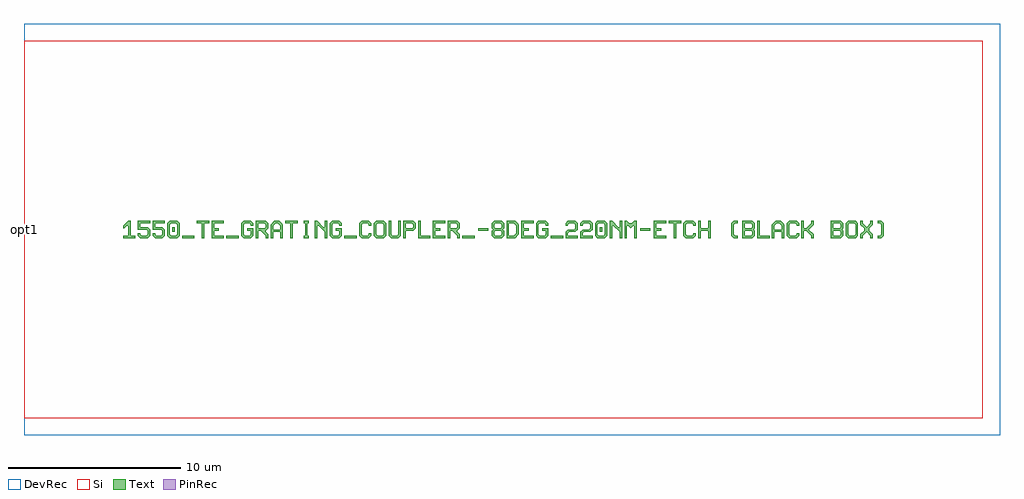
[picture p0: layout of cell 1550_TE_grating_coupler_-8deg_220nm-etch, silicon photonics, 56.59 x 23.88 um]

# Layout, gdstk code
import gdstk
lib = gdstk.Library(unit=1e-6, precision=1e-09)
def R(c, l, rs):  # rectangles x0, y0, x1, y1
    for r in rs: c.add(gdstk.rectangle(r[:2], r[2:], *l))
def A(c, l, x, y, w, h, nx, ny, dx, dy):  # array of equal rectangles
    R(c, l, [(x+i*dx, y+j*dy, x+i*dx+w, y+j*dy+h) for i in range(nx) for j in range(ny)])
def P(c, l, *ps):  # polygons
    for p in ps: c.add(gdstk.Polygon(p, *l))
Si = (1, 0)
PinRec = (1, 10)
Text = (10, 0)
DevRec = (68, 0)

text = lib.new_cell('TEXT')
A(text, Text, 5.985, 0, 0.713, 0.143, 3, 1, 6.84, 0)
R(text, Text, [(3.42,0,4.133,0.143), (24.795,0,25.508,0.143), (2.85,0.356,2.993,0.641), (27.645,0.356,27.788,0.641), (20.591,0.428,21.161,0.57), (29.996,0.428,30.566,0.57)])
P(text, Text, [(0,0),(0,0.143),(0.285,0.143),(0.285,0.713),(0.214,0.713),(0.071,0.57),(0,0.57),(0,0.713),(0.285,0.998),(0.428,0.998),(0.428,0.143),(0.713,0.143),(0.713,0)],
  [(0.998,0),(0.855,0.143),(0.855,0.285),(0.998,0.285),(0.998,0.214),(1.069,0.143),(1.354,0.143),(1.425,0.214),(1.425,0.428),(1.354,0.499),(0.855,0.499),(0.855,0.998),(1.568,0.998),(1.568,0.855),(0.998,0.855),(0.998,0.641),(1.425,0.641),(1.568,0.499),(1.568,0.143),(1.425,0)],
  [(1.853,0),(1.71,0.143),(1.71,0.285),(1.853,0.285),(1.853,0.214),(1.924,0.143),(2.209,0.143),(2.28,0.214),(2.28,0.428),(2.209,0.499),(1.71,0.499),(1.71,0.998),(2.423,0.998),(2.423,0.855),(1.853,0.855),(1.853,0.641),(2.28,0.641),(2.423,0.499),(2.423,0.143),(2.28,0)],
  [(2.708,0),(2.565,0.143),(2.565,0.855),(2.708,0.998),(3.135,0.998),(3.278,0.855),(2.779,0.855),(2.708,0.784),(2.708,0.214),(2.779,0.143),(3.064,0.143),(3.135,0.214),(3.135,0.784),(3.064,0.855),(3.278,0.855),(3.278,0.143),(3.135,0)],
  [(4.56,0),(4.56,0.855),(4.275,0.855),(4.275,0.998),(4.988,0.998),(4.988,0.855),(4.703,0.855),(4.703,0)],
  [(5.13,0),(5.13,0.998),(5.843,0.998),(5.843,0.855),(5.273,0.855),(5.273,0.57),(5.558,0.57),(5.558,0.428),(5.273,0.428),(5.273,0.143),(5.843,0.143),(5.843,0)],
  [(6.983,0),(6.84,0.143),(6.84,0.855),(6.983,0.998),(7.41,0.998),(7.553,0.855),(7.553,0.713),(7.41,0.713),(7.41,0.784),(7.339,0.855),(7.054,0.855),(6.983,0.784),(6.983,0.214),(7.054,0.143),(7.339,0.143),(7.41,0.214),(7.41,0.428),(7.196,0.428),(7.196,0.57),(7.553,0.57),(7.553,0.143),(7.41,0)],
  [(7.695,0),(7.695,0.998),(8.265,0.998),(8.408,0.855),(7.838,0.855),(7.838,0.57),(8.194,0.57),(8.265,0.641),(8.265,0.784),(8.194,0.855),(8.408,0.855),(8.408,0.57),(8.265,0.428),(8.265,0.356),(8.408,0.214),(8.408,0),(8.265,0),(8.265,0.143),(7.98,0.428),(7.838,0.428),(7.838,0)],
  [(8.55,0),(8.55,0.784),(8.764,0.998),(9.049,0.998),(9.191,0.855),(8.835,0.855),(8.693,0.713),(8.693,0.499),(9.12,0.499),(9.12,0.713),(8.978,0.855),(9.191,0.855),(9.263,0.784),(9.263,0),(9.12,0),(9.12,0.356),(8.693,0.356),(8.693,0)],
  [(9.69,0),(9.69,0.855),(9.405,0.855),(9.405,0.998),(10.118,0.998),(10.118,0.855),(9.833,0.855),(9.833,0)],
  [(10.474,0),(10.474,0.143),(10.545,0.143),(10.545,0.855),(10.474,0.855),(10.474,0.998),(10.759,0.998),(10.759,0.855),(10.688,0.855),(10.688,0.143),(10.759,0.143),(10.759,0)],
  [(11.115,0),(11.115,0.998),(11.258,0.998),(11.614,0.641),(11.685,0.641),(11.685,0.998),(11.828,0.998),(11.828,0),(11.685,0),(11.685,0.356),(11.329,0.713),(11.258,0.713),(11.258,0)],
  [(12.113,0),(11.97,0.143),(11.97,0.855),(12.113,0.998),(12.54,0.998),(12.683,0.855),(12.683,0.713),(12.54,0.713),(12.54,0.784),(12.469,0.855),(12.184,0.855),(12.113,0.784),(12.113,0.214),(12.184,0.143),(12.469,0.143),(12.54,0.214),(12.54,0.428),(12.326,0.428),(12.326,0.57),(12.683,0.57),(12.683,0.143),(12.54,0)],
  [(13.823,0),(13.68,0.143),(13.68,0.855),(13.823,0.998),(14.25,0.998),(14.393,0.855),(14.393,0.713),(14.25,0.713),(14.25,0.784),(14.179,0.855),(13.894,0.855),(13.823,0.784),(13.823,0.214),(13.894,0.143),(14.179,0.143),(14.25,0.214),(14.25,0.285),(14.393,0.285),(14.393,0.143),(14.25,0)],
  [(14.678,0),(14.535,0.143),(14.535,0.855),(14.678,0.998),(15.105,0.998),(15.248,0.855),(15.248,0.499),(15.105,0.499),(15.105,0.784),(15.034,0.855),(14.749,0.855),(14.678,0.784),(14.678,0.214),(14.749,0.143),(15.034,0.143),(15.105,0.214),(15.105,0.499),(15.248,0.499),(15.248,0.143),(15.105,0)],
  [(15.533,0),(15.39,0.143),(15.39,0.998),(15.533,0.998),(15.533,0.214),(15.604,0.143),(15.889,0.143),(15.96,0.214),(15.96,0.998),(16.103,0.998),(16.103,0.143),(15.96,0)],
  [(16.245,0),(16.245,0.998),(16.815,0.998),(16.958,0.855),(16.958,0.57),(16.815,0.428),(16.388,0.428),(16.388,0.57),(16.744,0.57),(16.815,0.641),(16.815,0.784),(16.744,0.855),(16.388,0.855),(16.388,0)],
  [(17.1,0),(17.1,0.998),(17.243,0.998),(17.243,0.143),(17.813,0.143),(17.813,0)],
  [(17.955,0),(17.955,0.998),(18.668,0.998),(18.668,0.855),(18.098,0.855),(18.098,0.57),(18.383,0.57),(18.383,0.428),(18.098,0.428),(18.098,0.143),(18.668,0.143),(18.668,0)],
  [(18.81,0),(18.81,0.998),(19.38,0.998),(19.523,0.855),(18.953,0.855),(18.953,0.57),(19.309,0.57),(19.38,0.641),(19.38,0.784),(19.309,0.855),(19.523,0.855),(19.523,0.57),(19.38,0.428),(19.38,0.356),(19.523,0.214),(19.523,0),(19.38,0),(19.38,0.143),(19.095,0.428),(18.953,0.428),(18.953,0)],
  [(21.518,0),(21.375,0.143),(21.375,0.428),(21.446,0.499),(21.375,0.57),(21.375,0.855),(21.518,0.998),(21.945,0.998),(22.088,0.855),(21.589,0.855),(21.518,0.784),(21.518,0.641),(21.589,0.57),(21.874,0.57),(21.945,0.641),(21.945,0.784),(21.874,0.855),(22.088,0.855),(22.088,0.57),(22.016,0.499),(22.088,0.428),(21.589,0.428),(21.518,0.356),(21.518,0.214),(21.589,0.143),(21.874,0.143),(21.945,0.214),(21.945,0.356),(21.874,0.428),(22.088,0.428),(22.088,0.143),(21.945,0)],
  [(22.23,0),(22.23,0.998),(22.729,0.998),(22.871,0.855),(22.373,0.855),(22.373,0.143),(22.658,0.143),(22.8,0.285),(22.8,0.713),(22.658,0.855),(22.871,0.855),(22.943,0.784),(22.943,0.214),(22.729,0)],
  [(23.085,0),(23.085,0.998),(23.798,0.998),(23.798,0.855),(23.228,0.855),(23.228,0.57),(23.513,0.57),(23.513,0.428),(23.228,0.428),(23.228,0.143),(23.798,0.143),(23.798,0)],
  [(24.083,0),(23.94,0.143),(23.94,0.855),(24.083,0.998),(24.51,0.998),(24.653,0.855),(24.653,0.713),(24.51,0.713),(24.51,0.784),(24.439,0.855),(24.154,0.855),(24.083,0.784),(24.083,0.214),(24.154,0.143),(24.439,0.143),(24.51,0.214),(24.51,0.428),(24.296,0.428),(24.296,0.57),(24.653,0.57),(24.653,0.143),(24.51,0)],
  [(25.65,0),(25.65,0.356),(25.793,0.499),(26.149,0.499),(26.22,0.57),(26.22,0.784),(26.149,0.855),(25.864,0.855),(25.793,0.784),(25.793,0.713),(25.65,0.713),(25.65,0.855),(25.793,0.998),(26.22,0.998),(26.363,0.855),(26.363,0.499),(26.22,0.356),(25.864,0.356),(25.793,0.285),(25.793,0.143),(26.363,0.143),(26.363,0)],
  [(26.505,0),(26.505,0.356),(26.648,0.499),(27.004,0.499),(27.075,0.57),(27.075,0.784),(27.004,0.855),(26.719,0.855),(26.648,0.784),(26.648,0.713),(26.505,0.713),(26.505,0.855),(26.648,0.998),(27.075,0.998),(27.218,0.855),(27.218,0.499),(27.075,0.356),(26.719,0.356),(26.648,0.285),(26.648,0.143),(27.218,0.143),(27.218,0)],
  [(27.503,0),(27.36,0.143),(27.36,0.855),(27.503,0.998),(27.93,0.998),(28.073,0.855),(27.574,0.855),(27.503,0.784),(27.503,0.214),(27.574,0.143),(27.859,0.143),(27.93,0.214),(27.93,0.784),(27.859,0.855),(28.073,0.855),(28.073,0.143),(27.93,0)],
  [(28.215,0),(28.215,0.998),(28.358,0.998),(28.714,0.641),(28.785,0.641),(28.785,0.998),(28.928,0.998),(28.928,0),(28.785,0),(28.785,0.356),(28.429,0.713),(28.358,0.713),(28.358,0)],
  [(29.07,0),(29.07,0.998),(29.213,0.998),(29.355,0.855),(29.498,0.855),(29.64,0.998),(29.783,0.998),(29.783,0),(29.64,0),(29.64,0.713),(29.569,0.713),(29.426,0.57),(29.284,0.713),(29.213,0.713),(29.213,0)],
  [(30.78,0),(30.78,0.998),(31.493,0.998),(31.493,0.855),(30.923,0.855),(30.923,0.57),(31.208,0.57),(31.208,0.428),(30.923,0.428),(30.923,0.143),(31.493,0.143),(31.493,0)],
  [(31.92,0),(31.92,0.855),(31.635,0.855),(31.635,0.998),(32.348,0.998),(32.348,0.855),(32.063,0.855),(32.063,0)],
  [(32.633,0),(32.49,0.143),(32.49,0.855),(32.633,0.998),(33.06,0.998),(33.203,0.855),(33.203,0.713),(33.06,0.713),(33.06,0.784),(32.989,0.855),(32.704,0.855),(32.633,0.784),(32.633,0.214),(32.704,0.143),(32.989,0.143),(33.06,0.214),(33.06,0.285),(33.203,0.285),(33.203,0.143),(33.06,0)],
  [(33.345,0),(33.345,0.998),(33.488,0.998),(33.488,0.57),(33.915,0.57),(33.915,0.998),(34.058,0.998),(34.058,0),(33.915,0),(33.915,0.428),(33.488,0.428),(33.488,0)],
  [(35.411,0),(35.269,0.143),(35.269,0.855),(35.411,0.998),(35.625,0.998),(35.625,0.855),(35.483,0.855),(35.411,0.784),(35.411,0.214),(35.483,0.143),(35.625,0.143),(35.625,0)],
  [(35.91,0),(35.91,0.998),(36.48,0.998),(36.623,0.855),(36.053,0.855),(36.053,0.57),(36.409,0.57),(36.48,0.641),(36.48,0.784),(36.409,0.855),(36.623,0.855),(36.623,0.57),(36.551,0.499),(36.623,0.428),(36.053,0.428),(36.053,0.143),(36.409,0.143),(36.48,0.214),(36.48,0.356),(36.409,0.428),(36.623,0.428),(36.623,0.143),(36.48,0)],
  [(36.765,0),(36.765,0.998),(36.908,0.998),(36.908,0.143),(37.478,0.143),(37.478,0)],
  [(37.62,0),(37.62,0.784),(37.834,0.998),(38.119,0.998),(38.261,0.855),(37.905,0.855),(37.763,0.713),(37.763,0.499),(38.19,0.499),(38.19,0.713),(38.048,0.855),(38.261,0.855),(38.333,0.784),(38.333,0),(38.19,0),(38.19,0.356),(37.763,0.356),(37.763,0)],
  [(38.618,0),(38.475,0.143),(38.475,0.855),(38.618,0.998),(39.045,0.998),(39.188,0.855),(39.188,0.713),(39.045,0.713),(39.045,0.784),(38.974,0.855),(38.689,0.855),(38.618,0.784),(38.618,0.214),(38.689,0.143),(38.974,0.143),(39.045,0.214),(39.045,0.285),(39.188,0.285),(39.188,0.143),(39.045,0)],
  [(39.33,0),(39.33,0.998),(39.473,0.998),(39.473,0.57),(39.615,0.57),(39.9,0.855),(39.9,0.998),(40.043,0.998),(40.043,0.784),(39.758,0.499),(40.043,0.214),(40.043,0),(39.9,0),(39.9,0.143),(39.615,0.428),(39.473,0.428),(39.473,0)],
  [(41.04,0),(41.04,0.998),(41.61,0.998),(41.753,0.855),(41.183,0.855),(41.183,0.57),(41.539,0.57),(41.61,0.641),(41.61,0.784),(41.539,0.855),(41.753,0.855),(41.753,0.57),(41.681,0.499),(41.753,0.428),(41.183,0.428),(41.183,0.143),(41.539,0.143),(41.61,0.214),(41.61,0.356),(41.539,0.428),(41.753,0.428),(41.753,0.143),(41.61,0)],
  [(42.038,0),(41.895,0.143),(41.895,0.855),(42.038,0.998),(42.465,0.998),(42.608,0.855),(42.608,0.499),(42.465,0.499),(42.465,0.784),(42.394,0.855),(42.109,0.855),(42.038,0.784),(42.038,0.214),(42.109,0.143),(42.394,0.143),(42.465,0.214),(42.465,0.499),(42.608,0.499),(42.608,0.143),(42.465,0)],
  [(42.75,0),(42.75,0.214),(42.964,0.428),(42.964,0.57),(42.75,0.784),(42.75,0.998),(42.893,0.998),(42.893,0.855),(43.106,0.641),(43.32,0.855),(43.32,0.998),(43.463,0.998),(43.463,0.784),(43.249,0.57),(43.249,0.428),(43.463,0.214),(43.463,0),(43.32,0),(43.32,0.143),(43.106,0.356),(42.893,0.143),(42.893,0)],
  [(43.748,0),(43.748,0.143),(43.89,0.143),(43.961,0.214),(43.961,0.784),(43.89,0.855),(43.748,0.855),(43.748,0.998),(43.961,0.998),(44.104,0.855),(44.104,0.143),(43.961,0)])

c_1550_te_grating_coupler_ = lib.new_cell('1550_TE_grating_coupler_-8deg_220nm-etch')
R(c_1550_te_grating_coupler_, Si, [(-27.79,-10.941,27.79,10.941)])
R(c_1550_te_grating_coupler_, DevRec, [(-27.79,-11.941,28.79,11.941)])
c_1550_te_grating_coupler_.add(gdstk.FlexPath([(-27.78,0),(-27.8,0)], 0.5, ends="flush", simple_path=True, layer=1, datatype=10))  # PinRec
c_1550_te_grating_coupler_.add(gdstk.Reference(text, (-22.052,-0.499)))
c_1550_te_grating_coupler_.add(gdstk.Label('opt1', (-27.79,0), layer=1, texttype=10))

lib.write_gds('1550_TE_grating_coupler_-8deg_220nm-etch.gds')
